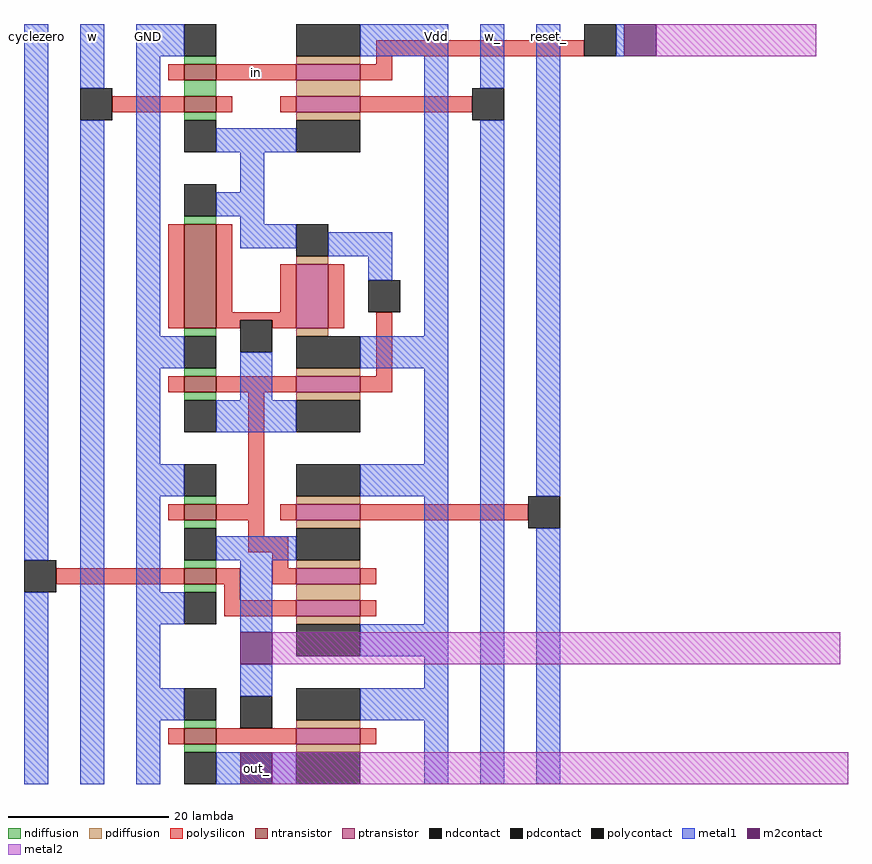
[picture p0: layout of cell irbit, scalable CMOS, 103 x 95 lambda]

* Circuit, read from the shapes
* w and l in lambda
.subckt irbit GND Vdd cyclezero in out_ reset_ w w_
M1 GND n1 out_ VSUBS nfet w=4 l=2
M2 n1 cyclezero GND VSUBS nfet w=4 l=2
M3 GND staticizer_1/in n1 VSUBS nfet w=4 l=2
M4 GND staticizer_1/in staticizer_1/inverter_0/out VSUBS nfet w=4 l=2
M5 staticizer_1/in staticizer_1/inverter_0/out GND VSUBS nfet w=4 l=13
M6 n2 w staticizer_1/in VSUBS nfet w=4 l=2
M7 GND in n2 VSUBS nfet w=4 l=2
M8 Vdd n1 out_ NWELL pfet w=8 l=2
M9 n3 cyclezero Vdd NWELL pfet w=8 l=2
M10 n1 staticizer_1/in n3 NWELL pfet w=8 l=2
M11 Vdd reset_ n1 NWELL pfet w=8 l=2
M12 Vdd staticizer_1/in staticizer_1/inverter_0/out NWELL pfet w=8 l=2
M13 staticizer_1/in staticizer_1/inverter_0/out Vdd NWELL pfet w=4 l=8
M14 n4 w_ staticizer_1/in NWELL pfet w=8 l=2
M15 Vdd in n4 NWELL pfet w=8 l=2
.ends

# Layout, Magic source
magic
tech scmos
<< polysilicon >>
rect -45 11 -19 13
rect -61 8 -59 10
rect -45 8 -43 11
rect -78 4 -71 6
rect -45 4 -33 6
rect -61 -45 -59 -31
rect -71 -47 -69 -45
rect -65 -47 -59 -45
rect -57 -47 -55 -45
rect -47 -47 -26 -45
rect -61 -49 -59 -47
rect -61 -51 -56 -49
rect -58 -53 -56 -51
rect -85 -55 -69 -53
rect -65 -55 -62 -53
rect -58 -55 -55 -53
rect -47 -55 -45 -53
rect -64 -57 -62 -55
rect -64 -59 -55 -57
rect -47 -59 -45 -57
<< ndiffusion >>
rect -69 -45 -65 -44
rect -69 -48 -65 -47
rect -69 -53 -65 -52
rect -69 -56 -65 -55
<< pdiffusion >>
rect -55 -45 -47 -44
rect -55 -48 -47 -47
rect -55 -53 -47 -52
rect -55 -57 -47 -55
rect -55 -60 -47 -59
<< metal1 >>
rect -89 -52 -86 15
rect -82 7 -79 15
rect -75 11 -69 15
rect -47 11 -36 15
rect -89 -80 -86 -56
rect -82 -80 -79 3
rect -75 -24 -72 11
rect -62 -9 -59 0
rect -39 -24 -36 11
rect -32 7 -29 15
rect -75 -28 -69 -24
rect -41 -28 -36 -24
rect -75 -40 -72 -28
rect -39 -40 -36 -28
rect -75 -44 -69 -40
rect -47 -44 -36 -40
rect -75 -56 -72 -44
rect -65 -52 -55 -49
rect -75 -60 -69 -56
rect -75 -68 -72 -60
rect -62 -61 -58 -52
rect -39 -60 -36 -44
rect -47 -64 -36 -60
rect -75 -72 -69 -68
rect -62 -69 -58 -65
rect -39 -68 -36 -64
rect -75 -80 -72 -72
rect -47 -72 -36 -68
rect -39 -80 -36 -72
rect -32 -80 -29 3
rect -25 -44 -22 15
rect -15 11 -14 15
rect -25 -80 -22 -48
<< metal2 >>
rect -10 11 10 15
rect -58 -65 13 -61
rect -58 -80 14 -76
<< ntransistor >>
rect -69 -47 -65 -45
rect -69 -55 -65 -53
<< ptransistor >>
rect -55 -47 -47 -45
rect -55 -55 -47 -53
rect -55 -59 -47 -57
<< polycontact >>
rect -19 11 -15 15
rect -82 3 -78 7
rect -33 3 -29 7
rect -26 -48 -22 -44
rect -89 -56 -85 -52
rect -62 -73 -58 -69
<< ndcontact >>
rect -69 -44 -65 -40
rect -69 -52 -65 -48
rect -69 -60 -65 -56
<< pdcontact >>
rect -55 -44 -47 -40
rect -55 -52 -47 -48
rect -55 -64 -47 -60
<< m2contact >>
rect -62 -65 -58 -61
rect -62 -80 -58 -76
rect -14 11 -10 15
use latch  latch_1
transform 0 1 -69 -1 0 9
box -6 -2 10 24
use staticizer  staticizer_1
transform 0 1 -73 -1 0 -24
box -19 2 12 32
use inverter  inverter_0
transform 0 1 -76 -1 0 -73
box -5 5 7 31
<< labels >>
rlabel polysilicon -61 8 -59 10 1 in
rlabel m2contact -62 -80 -58 -76 1 out_
rlabel metal1 -89 12 -86 15 4 cyclezero
rlabel metal1 -82 12 -79 15 5 w
rlabel metal1 -75 12 -72 15 5 GND
rlabel metal1 -39 12 -36 15 5 Vdd
rlabel metal1 -32 12 -29 15 5 w_
rlabel metal1 -25 12 -22 15 6 reset_
<< end >>

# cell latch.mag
magic
tech scmos
<< polysilicon >>
rect -1 22 1 24
rect 3 22 5 24
rect -1 4 1 14
rect 3 12 5 14
rect 3 4 5 6
rect -1 -2 1 0
rect 3 -2 5 0
<< ndiffusion >>
rect -2 0 -1 4
rect 1 0 3 4
rect 5 0 6 4
<< pdiffusion >>
rect -2 14 -1 22
rect 1 14 3 22
rect 5 14 6 22
<< metal1 >>
rect 7 4 10 14
<< ntransistor >>
rect -1 0 1 4
rect 3 0 5 4
<< ptransistor >>
rect -1 14 1 22
rect 3 14 5 22
<< ndcontact >>
rect -6 0 -2 4
rect 6 0 10 4
<< pdcontact >>
rect -6 14 -2 22
rect 6 14 10 22
<< labels >>
rlabel polysilicon 3 22 5 24 5 latch_
rlabel polysilicon 3 -2 5 0 1 latch
rlabel pdcontact -6 14 -2 22 3 Vdd
rlabel ndcontact -6 0 -2 4 2 GND
rlabel polysilicon -1 8 1 10 1 in
rlabel metal1 7 8 10 10 7 out
<< end >>

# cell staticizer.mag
magic
tech scmos
<< polysilicon >>
rect -3 28 7 30
rect -9 22 -1 24
rect -9 16 -1 18
rect -3 15 -1 16
rect -3 11 -2 15
rect -3 10 -1 11
rect -14 8 -1 10
rect -14 2 -1 4
<< ndiffusion >>
rect -15 4 -14 8
rect -1 4 0 8
<< pdiffusion >>
rect -10 18 -9 22
rect -1 18 0 22
<< metal1 >>
rect -13 27 -7 30
rect -13 22 -10 27
rect 0 26 4 32
rect -14 14 -11 18
rect -18 11 -11 14
rect 2 11 12 15
rect -18 8 -15 11
<< ntransistor >>
rect -14 4 -1 8
<< ptransistor >>
rect -9 18 -1 22
<< polycontact >>
rect -7 27 -3 31
rect -2 11 2 15
<< ndcontact >>
rect -19 4 -15 8
rect 0 4 4 8
<< pdcontact >>
rect -14 18 -10 22
rect 0 18 4 26
use inverter  inverter_0
transform 1 0 5 0 1 -3
box -5 5 7 31
<< labels >>
rlabel metal1 0 28 4 32 5 Vdd
rlabel ndcontact 0 4 4 8 1 GND
rlabel polycontact -7 27 -3 31 5 in
<< end >>

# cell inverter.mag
magic
tech scmos
<< polysilicon >>
rect 0 29 2 31
rect 0 11 2 21
rect 0 5 2 7
<< ndiffusion >>
rect -1 7 0 11
rect 2 7 3 11
<< pdiffusion >>
rect -1 21 0 29
rect 2 21 3 29
<< metal1 >>
rect 3 11 7 21
<< ntransistor >>
rect 0 7 2 11
<< ptransistor >>
rect 0 21 2 29
<< ndcontact >>
rect -5 7 -1 11
rect 3 7 7 11
<< pdcontact >>
rect -5 21 -1 29
rect 3 21 7 29
<< labels >>
rlabel metal1 5 16 5 16 7 out
<< end >>
